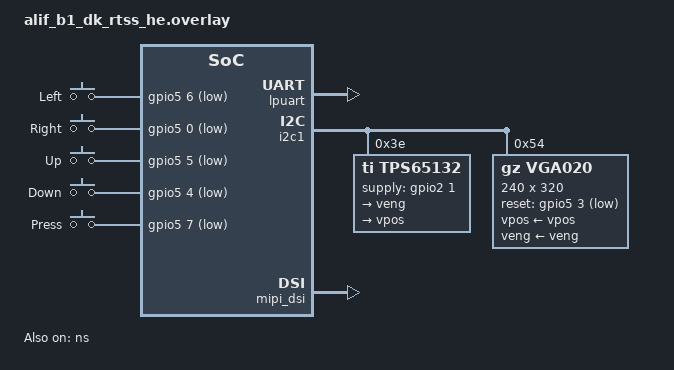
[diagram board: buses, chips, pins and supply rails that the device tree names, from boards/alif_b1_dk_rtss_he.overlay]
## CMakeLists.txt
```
# SPDX-License-Identifier: Apache-2.0

cmake_minimum_required(VERSION 3.20.0)

find_package(Zephyr REQUIRED HINTS $ENV{ZEPHYR_BASE})
project(display)

target_sources(app PRIVATE src/main.c)
```

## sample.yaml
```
sample:
  name: VGA020 MIPI-DSI Display
  description: 2D graphics demo on VGA020 240x320 OLED display with Canvas API
tests:
  sample.halo.vga020:
    platform_allow:
      - halo
    integration_platforms:
      - halo
    tags:
      - display
      - mipi_dsi
      - oled
      - graphics
      - canvas
    harness: console
    harness_config:
      type: multi_line
      regex:
        - "Display sample for cdc200"
        - "Enabling CDC200 Device"
        - "FB0 - 0x\\w+, size - \\d+"
        - "draw rect time: \\d+ ms"
        - "draw string time: \\d+ ms"
        - "Brightness: \\d+"
      ordered: true
```

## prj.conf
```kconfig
CONFIG_HEAP_MEM_POOL_SIZE=65536
CONFIG_LOG=y
CONFIG_CANVAS=y
CONFIG_DISPLAY=y
CONFIG_FB_USES_DTCM_REGION=y
CONFIG_MIPI_DSI=y
CONFIG_LOG_BUFFER_SIZE=4096
CONFIG_DISPLAY_LOG_LEVEL_DBG=y
CONFIG_MIPI_DSI_LOG_LEVEL_DBG=y
CONFIG_CBPRINTF_FP_SUPPORT=y
```

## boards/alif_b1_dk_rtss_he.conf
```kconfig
# Copyright (C) 2024 Alif Semiconductor - All Rights Reserved.
# Use, distribution and modification of this code is permitted under the
# terms stated in the Alif Semiconductor Software License Agreement
#
# You should have received a copy of the Alif Semiconductor Software
# License Agreement with this file. If not, please write to:
# contact@alifsemi.com, or visit: https://alifsemi.com/license


CONFIG_REGULATOR=y
```

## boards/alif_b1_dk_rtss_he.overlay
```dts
/* Copyright (C) 2024 Alif Semiconductor - All Rights Reserved.
 * Use, distribution and modification of this code is permitted under the
 * terms stated in the Alif Semiconductor Software License Agreement
 *
 * You should have received a copy of the Alif Semiconductor Software
 * License Agreement with this file. If not, please write to:
 * contact@alifsemi.com, or visit: https://alifsemi.com/license
 *
 */

/ {
	chosen {
		zephyr,console = &lpuart;
		zephyr,shell-uart = &lpuart;
		zephyr,panel = &vga020;
	};

 	buttons {
        compatible = "gpio-keys";

        button_left: button_left {
            gpios = <&gpio5 6 GPIO_ACTIVE_LOW>;
            label = "Left";
        };

        button_right: button_right {
            gpios = <&gpio5 0 GPIO_ACTIVE_LOW>;
            label = "Right";
        };

        button_up: button_up {
            gpios = <&gpio5 5 GPIO_ACTIVE_LOW>;
            label = "Up";
        };

        button_down: button_down {
            gpios = <&gpio5 4 GPIO_ACTIVE_LOW>;
            label = "Down";
        };

        button_press: button_press {
            gpios = <&gpio5 7 GPIO_ACTIVE_LOW>;
            label = "Press";
        };
    };
};

&uart2 {
	status = "disabled";
};

&lpuart {
	status = "okay";
};


&pinctrl {
		pinctrl_i2c1: pinctrl_i2c1 {
		group0 {
			pinmux = < PIN_P2_6__I2C1_SDA_B >,
				 < PIN_P2_7__I2C1_SCL_B >;

			read_enable = < 0x1 >;
			driver_state_control = < 0x1 >;
		};
	};
};

&pinctrl_gpio5 {
	group0 {
		pinmux = < PIN_P5_0__GPIO >,
			 < PIN_P5_1__GPIO >,
			 < PIN_P5_2__GPIO >,
			 < PIN_P5_3__GPIO >,
			 < PIN_P5_4__GPIO >,
			 < PIN_P5_5__GPIO >,
			 < PIN_P5_6__GPIO >,
			 < PIN_P5_7__GPIO >;
		read_enable = < 0x1 >;
	};

	group1 {
		pinmux = < PIN_P5_0__GPIO >,
			 < PIN_P5_4__GPIO >,
			 < PIN_P5_5__GPIO >,
			 < PIN_P5_6__GPIO >,
			 < PIN_P5_7__GPIO >;
		driver_state_control = <1>;
	};
};


/ {
	soc {
		cdc200: cdc200@49031000 {
			width = <240>;
			hfront-porch = <16>;
			hback-porch = <48>;
			hsync-len = <96>;

			height = <320>;
			vfront-porch = <16>;
			vback-porch = <26>;
			vsync-len = <3>;

			hsync-active = <1>;
			vsync-active = <1>;
			de-active = <1>;
			pixelclk-active = <1>;

			clock-frequency = <8760000>;

			bg-color = <0>;
			enable-l1 = <1>;
			pixel-fmt-l1 = "rgb-888";
			def-back-color-l1 = <0>;
			win-x0-l1 = <0>;
			win-y0-l1 = <0>;
			win-x1-l1 = <240>;
			win-y1-l1 = <320>;
			blend-factor1-l1 = <4>;
			blend-factor2-l1 = <5>;
			const-alpha-l1 = <0xff>;
			enable-l2 = <0>;
			pixel-fmt-l2 = "undefined";
			win-x0-l2 = <0>;
			win-y0-l2 = <0>;
			win-x1-l2 = <0>;
			win-y1-l2 = <0>;
			blend-factor1-l2 = <6>;
			blend-factor2-l2 = <7>;
			const-alpha-l2 = <0xff>;
		};

		dtcm: dtcm@2000a000 {
			compatible = "alif,dtcm", "zephyr,memory-region";
			dtcm_global_base = <0x5880a000>;
			reg = <0x2000a000 DT_SIZE_K(1496)>;
			zephyr,memory-region = "DTCM";
		};

		/delete-node/ ns@2002a000;
		ns: ns@20140000 {
			compatible = "zephyr,memory-region", "mmio-region";
			reg = <0x20140000 DT_SIZE_K(256)>;
			zephyr,memory-region = "NS";
		};
		

	};

};

ns: &ns {
	status = "okay";
};


&i2c1 {
	status = "okay";
	tps65132: tps65132@3e {
		compatible = "ti,tps65132";
		reg = <0x3e>;
		supply-gpios = <&gpio2 1 GPIO_ACTIVE_HIGH>;
		apps = "40ma";
		
		veng: VENG {
			regulator-name = "veng";
			regulator-init-microvolt = <4500000>;
			enable-gpios = <&gpio7 4 GPIO_ACTIVE_HIGH>;
			startup-delay-us = <5000>;
			status = "okay";

		};

		vpos: VPOS {
			regulator-name = "vpos";
			regulator-init-microvolt = <5500000>;
			enable-gpios = <&gpio7 5 GPIO_ACTIVE_HIGH>;
			startup-delay-us = <5000>;   
			status = "okay";
		};
		status = "okay";
	};
	vga020: vga020@54 {
		compatible = "gz,vga020";
		mipi = <&mipi_dsi>;
      	reg = <0x54>;
		vpos-supply = <&vpos>;
    	veng-supply = <&veng>;
		reset-gpios = <&gpio5 3 GPIO_ACTIVE_LOW>;
      	width = <240>;
      	height = <320>;
		status = "okay";
    };     
};


&mipi_dsi {
	// dpi-video-pattern-gen = "vertical-color-bar";
	// dpi-video-pattern-gen = "horizontal-color-bar";
	// dpi-video-pattern-gen = "vertical-bit-error-rate";
	/delete-property/ frame-ack-en;  // vga020 not supported
	/delete-property/ ecc-recv-en;
	/delete-property/ crc-recv-en;
	vid-pkt-size = <240>;
	panel-max-lane-bandwidth = <500000000>;
	status = "okay";
};

&vga020{
	status = "okay";
};
```

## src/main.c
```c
/* Copyright (c) 2019 Jan Van Winkel <jan.van_winkel@dxplore.eu>
 *
 * Based on ST7789V sample:
 * Copyright (c) 2019 Marc Reilly
 *
 * Copyright 2024 Alif Semiconductor
 *
 * SPDX-License-Identifier: Apache-2.0
 */

#include <zephyr/kernel.h>
#include <zephyr/device.h>
#include <zephyr/drivers/display.h>
#include <zephyr/drivers/display/cdc200.h>
#ifdef CONFIG_MIPI_DSI
#include <zephyr/drivers/mipi_dsi/dsi_dw.h>
#endif /* CONFIG_MIPI_DSI */

#include <zephyr/logging/log.h>
LOG_MODULE_REGISTER(disp, LOG_LEVEL_INF);

#include <canvas.h>

Color red = COLOR_HEX(0xFF0000);
Color green = COLOR_HEX(0x00FF00);
Color blue = COLOR_HEX(0x0000FF);
Color yellow = COLOR_HEX(0xFFFF00);
Color cyan = COLOR_HEX(0x00FFFF);
Color white = COLOR_HEX(0xFFFFFF);

#include "bitmap.h"
int main(void)
{

	struct cdc200_display_caps capabilities;
	struct cdc200_fb_desc layer = {0};
	const struct device *display_dev;

	struct display_capabilities panel_caps;
	const struct device *panel;
	const struct device *dsi;
	uint32_t start, end;
	int ret;

	panel = DEVICE_DT_GET(DT_CHOSEN(zephyr_panel));
	if (!device_is_ready(panel)) {
		LOG_ERR("Device %s not found. Aborting sample.", panel->name);
		return -1;
	}

	dsi = DEVICE_DT_GET(DT_ALIAS(mipi_dsi));
	if (!device_is_ready(dsi)) {
		LOG_ERR("Device %s not found. Aborting sample.", dsi->name);
		return -1;
	}

	LOG_INF("Enable Ensemble-DSI Device video mode.");
	ret = dsi_dw_set_mode(dsi, DSI_DW_VIDEO_MODE);
	if (ret) {
		LOG_ERR("DSI Host controller set to video mode.");
		return -1;
	}

	display_get_capabilities(panel, &panel_caps);
	LOG_INF("Panel Orientation - %d", panel_caps.current_orientation);

	display_blanking_off(panel);

	display_dev = DEVICE_DT_GET(DT_CHOSEN(zephyr_display));
	if (!device_is_ready(display_dev)) {
		LOG_ERR("Device %s not found. Aborting sample.", display_dev->name);
		return -1;
	}

	LOG_INF("Display sample for %s", display_dev->name);
	LOG_INF("Enabling CDC200 Device.");
	cdc200_set_enable(display_dev, true);
	cdc200_get_capabilities(display_dev, &capabilities);

	LOG_INF("Display Capabilities");
	LOG_INF("Panel resolution, supported formats - (%d, %d), %d",
		capabilities.x_panel_resolution, capabilities.y_panel_resolution,
		capabilities.supported_pixel_formats);
	LOG_INF("CDC200 orientation - %d", capabilities.current_orientation);

	for (int i = 0; i <= 1; i++) {
		LOG_INF("Display Capabilities layer %d:", i + 1);
		LOG_INF("\tlayer_enabled - %d", capabilities.layer[i].layer_en);
		LOG_INF("\t(x_res, y_res) - (%d, %d)", capabilities.layer[i].x_resolution,
			capabilities.layer[i].y_resolution);
		LOG_INF("\tcurr_pix_fmt - %d", capabilities.layer[i].current_pixel_format);
	}

	if (capabilities.layer[0].layer_en) {
		cdc200_get_framebuffer(display_dev, 0, &layer);
		LOG_INF("FB0 - 0x%08x, size - %d", (uint32_t)layer.fb_addr, layer.fb_size);
		Canvas canvas;
		canvas_init(&canvas, (uint8_t (*)[240][3])layer.fb_addr);

		canvas_clear(&canvas, COLOR_HEX(0x000000));

		start = k_uptime_get_32();
		canvas_draw_rect(&canvas, 50, 50, 100, 80, green, false);
		end = k_uptime_get_32();
		LOG_INF("draw rect time: %d ms", end - start);

		start = k_uptime_get_32();
		canvas_draw_rect(&canvas, 200, 50, 80, 100, blue, true);
		end = k_uptime_get_32();
		LOG_INF("draw rect time: %d ms", end - start);

		int triangle[] = {120, 30, 180, 100, 60, 100};
		canvas_draw_polygon(&canvas, triangle, 3, white);
		end = k_uptime_get_32();
		LOG_INF("draw triangle time: %d ms", end - start);

		start = k_uptime_get_32();
		canvas_draw_bitmap(&canvas, 0, 0, 128, 64, gImage_ABC);
		end = k_uptime_get_32();
		LOG_INF("draw image time: %d ms", end - start);

		canvas_set_font(&canvas, &Dogica8px, 2);

		start = k_uptime_get_32();
		canvas_draw_char(&canvas, 'A', 0, 100, COLOR_HEX(0xFF0000));
		end = k_uptime_get_32();
		LOG_INF("draw char time: %d ms", end - start);

		start = k_uptime_get_32();
		canvas_draw_string(&canvas, "Hello World", 0, 20, COLOR_HEX(0x00FF00));
		end = k_uptime_get_32();
		LOG_INF("draw string time: %d ms", end - start);

		start = k_uptime_get_32();
		canvas_draw_line(&canvas, 10, 10, 100, 10, red);
		end = k_uptime_get_32();
		LOG_INF("draw line time: %d ms", end - start);

		uint8_t brightness = 0;
		while (1) {
			printk("Brightness: %d\n", brightness);

			display_set_brightness(panel, brightness);
			brightness += 1;
			if (brightness > 100) {
				brightness = 0;
			}
			k_msleep(1000);
		}
	}

	return 0;
}
```
